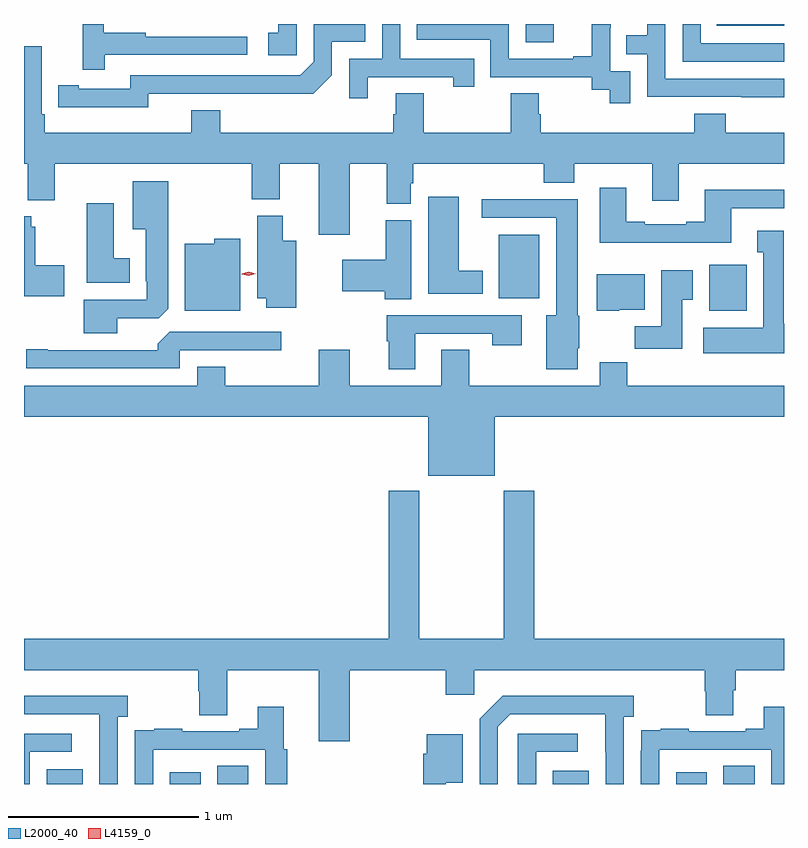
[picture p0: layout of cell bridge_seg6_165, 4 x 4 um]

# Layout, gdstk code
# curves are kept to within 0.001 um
import gdstk
lib = gdstk.Library(unit=1e-6, precision=1e-09)
def R(c, l, rs):  # rectangles x0, y0, x1, y1
    for r in rs: c.add(gdstk.rectangle(r[:2], r[2:], *l))
def P(c, l, *ps):  # polygons
    for p in ps: c.add(gdstk.Polygon(p, *l))
L2000_40 = (2000, 40)
L4159_0 = (4159, 0)

bridge_seg6_165 = lib.new_cell('bridge_seg6_165')
R(bridge_seg6_165, L2000_40, [(127.613,916.1,127.801,916.177), (128.261,916.1,128.422,916.162), (128.51,916.1,128.674,916.196), (130.277,916.1,130.465,916.171), (130.925,916.1,131.086,916.162), (131.174,916.1,131.338,916.196), (131.099,918.59,131.296,918.832), (129.992,918.656,130.204,918.991), (130.134,920.004,130.282,920.1), (131.14,920.09,131.493,920.1)])
P(bridge_seg6_165, L2000_40, [(130.683,919.851),(130.578,919.851),(130.578,920.081),(130.58,920.081),(130.58,920.1),(130.481,920.1),(130.481,919.93),(130.385,919.93),(130.385,919.917),(130.044,919.917),(130.044,920.1),(129.559,920.1),(129.559,920.016),(129.948,920.016),(129.948,919.821),(130.482,919.821),(130.482,919.753),(130.575,919.753),(130.575,919.683),(130.683,919.683)],
  [(129.301,919.821),(129.752,919.821),(129.752,919.77),(129.863,919.77),(129.863,919.917),(129.474,919.917),(129.474,920.1),(129.378,920.1),(129.378,919.917),(129.204,919.917),(129.204,919.71),(129.301,919.71)],
  [(131.493,919.998),(131.055,919.998),(131.055,920.1),(130.959,920.1),(130.959,919.902),(131.493,919.902)],
  [(128.928,920.1),(128.831,920.1),(128.831,920.055),(128.778,920.055),(128.778,919.935),(128.928,919.935)],
  [(131.493,919.812),(130.869,919.812),(130.869,920.1),(130.773,920.1),(130.773,920.042),(130.663,920.042),(130.663,919.941),(130.773,919.941),(130.773,919.716),(131.269,919.716),(131.269,919.715),(131.493,919.715)],
  [(128.148,919.734),(129.016,919.733),(129.114,919.83),(129.114,920.007),(129.288,920.007),(129.288,920.1),(129.018,920.1),(129.018,919.902),(128.946,919.83),(128.052,919.83),(128.052,919.758),(127.78,919.758),(127.78,919.778),(127.672,919.778),(127.672,919.662),(128.148,919.661)],
  [(127.919,919.938),(128.668,919.938),(128.668,920.034),(128.135,920.034),(128.135,920.054),(127.912,920.054),(127.912,920.1),(127.802,920.1),(127.802,919.86),(127.919,919.86)],
  [(129.208,919.364),(129.401,919.364),(129.401,919.153),(129.529,919.153),(129.529,919.263),(129.542,919.263),(129.542,919.364),(130.229,919.364),(130.229,919.265),(130.389,919.265),(130.389,919.364),(130.799,919.364),(130.799,919.17),(130.939,919.17),(130.939,919.364),(131.493,919.364),(131.493,919.528),(131.186,919.528),(131.186,919.627),(131.021,919.627),(131.021,919.528),(130.214,919.528),(130.214,919.626),(130.201,919.626),(130.201,919.736),(130.054,919.736),(130.054,919.528),(129.597,919.528),(129.597,919.736),(129.449,919.736),(129.449,919.626),(129.437,919.626),(129.437,919.528),(128.525,919.528),(128.525,919.645),(128.372,919.645),(128.372,919.528),(127.601,919.528),(127.601,919.624),(127.587,919.624),(127.587,919.984),(127.493,919.984),(127.493,919.364),(127.514,919.364),(127.514,919.172),(127.654,919.172),(127.654,919.364),(128.692,919.364),(128.692,919.177),(128.839,919.177),(128.839,919.364),(129.044,919.364),(129.044,918.99),(129.208,918.99)],
  [(127.984,918.552),(128.202,918.552),(128.251,918.601),(128.251,919.273),(128.066,919.273),(128.066,919.019),(128.135,919.019),(128.135,918.745),(128.139,918.745),(128.139,918.648),(127.808,918.648),(127.808,918.473),(127.984,918.473)],
  [(131.215,919.131),(131.493,919.131),(131.493,919.228),(131.075,919.228),(131.075,919.06),(130.979,919.06),(130.979,919.047),(130.759,919.047),(130.759,919.06),(130.663,919.06),(130.663,919.237),(130.523,919.237),(130.523,918.95),(131.215,918.95)],
  [(129.907,918.802),(129.781,918.802),(129.781,919.192),(129.62,919.192),(129.62,918.68),(129.907,918.68)],
  [(130.408,918.394),(130.416,918.394),(130.416,918.564),(130.408,918.564),(130.408,919.178),(129.903,919.178),(129.903,919.08),(130.295,919.08),(130.295,918.568),(130.241,918.568),(130.241,918.282),(130.408,918.282)],
  [(128.05,918.868),(127.966,918.868),(127.966,919.156),(127.823,919.156),(127.823,918.737),(128.05,918.737)],
  [(128.926,918.958),(128.854,918.958),(128.854,919.092),(128.72,919.092),(128.72,918.656),(128.768,918.656),(128.768,918.606),(128.926,918.606)],
  [(127.705,918.831),(127.552,918.831),(127.552,919.033),(127.53,919.033),(127.53,919.087),(127.493,919.087),(127.493,918.668),(127.705,918.668)],
  [(129.532,919.068),(129.398,919.068),(129.398,918.859),(129.168,918.859),(129.168,918.694),(129.391,918.694),(129.391,918.652),(129.532,918.652)],
  [(131.493,918.522),(131.491,918.522),(131.491,919.012),(131.351,919.012),(131.351,918.899),(131.384,918.899),(131.384,918.502),(131.067,918.502),(131.067,918.368),(131.493,918.368)],
  [(128.632,918.97),(128.493,918.97),(128.493,918.943),(128.339,918.943),(128.339,918.59),(128.632,918.59)],
  [(130.957,918.649),(131.014,918.649),(131.014,918.805),(130.847,918.805),(130.847,918.508),(130.708,918.508),(130.708,918.39),(130.957,918.39)],
  [(130.626,918.596),(130.759,918.596),(130.759,918.784),(130.508,918.784),(130.508,918.59),(130.626,918.59)],
  [(129.553,918.471),(129.958,918.471),(129.958,918.408),(130.114,918.408),(130.114,918.567),(129.401,918.567),(129.401,918.429),(129.413,918.429),(129.413,918.282),(129.553,918.282)],
  [(128.313,918.384),(128.848,918.384),(128.848,918.48),(128.259,918.48),(128.198,918.418),(128.198,918.384),(127.618,918.384),(127.618,918.389),(127.506,918.389),(127.506,918.288),(128.313,918.288)],
  [(129.97,918.032),(131.493,918.032),(131.493,918.196),(130.667,918.196),(130.667,918.32),(130.523,918.32),(130.523,918.196),(129.837,918.196),(129.837,918.386),(129.689,918.386),(129.689,918.196),(129.208,918.196),(129.208,918.385),(129.044,918.385),(129.044,918.196),(128.553,918.196),(128.553,918.295),(128.405,918.295),(128.405,918.196),(127.493,918.196),(127.493,918.032),(129.62,918.032),(129.62,917.723),(129.97,917.723)],
  [(129.208,916.7),(129.713,916.7),(129.713,916.569),(129.864,916.569),(129.864,916.7),(131.075,916.7),(131.075,916.587),(131.08,916.587),(131.08,916.462),(131.227,916.462),(131.227,916.594),(131.24,916.594),(131.24,916.7),(131.493,916.7),(131.493,916.864),(130.178,916.864),(130.178,917.644),(130.018,917.644),(130.018,916.864),(129.573,916.864),(129.573,917.644),(129.413,917.644),(129.413,916.864),(127.493,916.864),(127.493,916.7),(128.411,916.7),(128.411,916.587),(128.416,916.587),(128.416,916.462),(128.563,916.462),(128.563,916.7),(129.044,916.7),(129.044,916.326),(129.208,916.326)],
  [(127.986,916.454),(128.038,916.454),(128.038,916.564),(127.493,916.564),(127.493,916.467),(127.89,916.467),(127.89,916.1),(127.986,916.1)],
  [(129.987,916.401),(130.053,916.467),(130.553,916.467),(130.554,916.1),(130.65,916.1),(130.65,916.454),(130.702,916.454),(130.702,916.564),(130.012,916.564),(129.891,916.443),(129.891,916.1),(129.987,916.1)],
  [(128.172,916.281),(128.763,916.281),(128.763,916.1),(128.879,916.1),(128.879,916.284),(128.861,916.284),(128.861,916.507),(128.723,916.507),(128.723,916.39),(128.627,916.39),(128.627,916.377),(128.327,916.377),(128.327,916.39),(128.179,916.39),(128.179,916.383),(128.077,916.383),(128.077,916.274),(128.076,916.274),(128.076,916.1),(128.172,916.1)],
  [(130.836,916.281),(131.427,916.281),(131.427,916.1),(131.493,916.1),(131.493,916.507),(131.387,916.507),(131.387,916.39),(131.291,916.39),(131.291,916.377),(130.991,916.377),(130.991,916.39),(130.843,916.39),(130.843,916.383),(130.741,916.383),(130.741,916.274),(130.74,916.274),(130.74,916.1),(130.836,916.1)],
  [(127.524,916.269),(127.744,916.269),(127.744,916.365),(127.493,916.365),(127.493,916.1),(127.524,916.1)],
  [(130.188,916.269),(130.408,916.269),(130.408,916.365),(130.092,916.365),(130.092,916.1),(130.188,916.1)],
  [(129.713,916.106),(129.802,916.106),(129.802,916.363),(129.614,916.363),(129.614,916.259),(129.595,916.259),(129.595,916.1),(129.713,916.1)])
P(bridge_seg6_165, L4159_0, [(128.677,918.775),(128.639,918.784),(128.639,918.785),(128.639,918.785),(128.677,918.795),(128.714,918.785),(128.714,918.785),(128.714,918.785)])

lib.write_gds('bridge_seg6_165.gds')
